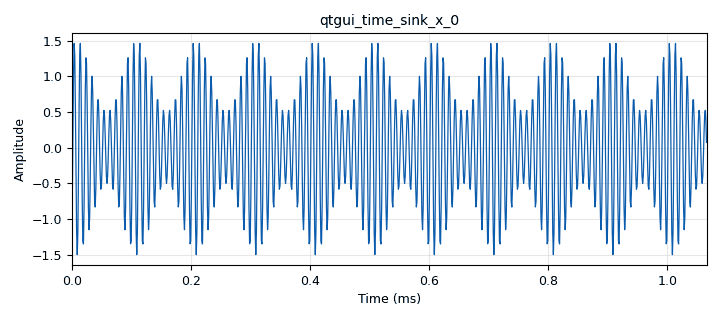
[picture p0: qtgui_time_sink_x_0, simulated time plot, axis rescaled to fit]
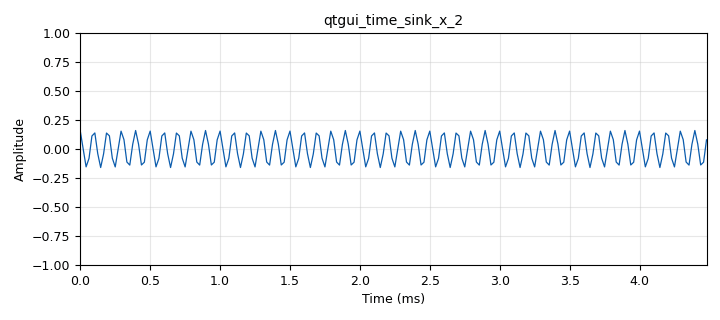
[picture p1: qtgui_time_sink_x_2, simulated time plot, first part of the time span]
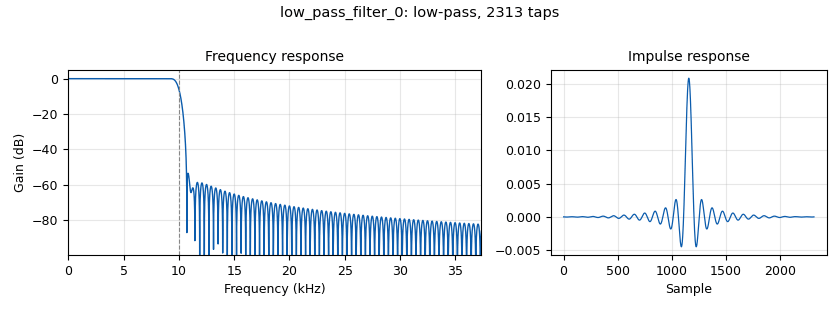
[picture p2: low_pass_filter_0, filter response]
options:
  parameters:
    generate_options: qt_gui
    id: dsb_fc
    output_language: python
    title: Not titled yet
  states: {}

blocks:
- name: amplification
  id: variable_qtgui_range
  parameters:
    gui_hint: tab@1
    start: '-4'
    step: '0.05'
    stop: '4'
    value: '1'
    widget: slider
  states: {}
- name: audio_rate
  id: variable
  parameters:
    value: '48000'
  states: {}
- name: dc_level
  id: variable_qtgui_range
  parameters:
    gui_hint: tab@1
    start: '-2'
    step: '0.05'
    stop: '2'
    value: '0'
    widget: slider
  states: {}
- name: quadrature_rate
  id: variable
  parameters:
    value: '960000'
  states: {}
- name: analog_sig_source_x_0
  id: analog_sig_source_x
  parameters:
    amp: '1'
    freq: '10000'
    offset: '0'
    phase: '0'
    samp_rate: audio_rate
    type: float
    waveform: analog.GR_COS_WAVE
  states: {}
- name: analog_sig_source_x_1
  id: analog_sig_source_x
  parameters:
    amp: '1'
    freq: '100000'
    offset: '0'
    phase: '0'
    samp_rate: quadrature_rate
    type: float
    waveform: analog.GR_COS_WAVE
  states: {}
- name: audio_sink_0
  id: audio_sink
  parameters:
    samp_rate: '48000'
  states: {state: disabled}
- name: blocks_abs_xx_0
  id: blocks_abs_xx
  parameters:
    type: float
  states: {}
- name: blocks_add_const_vxx_0
  id: blocks_add_const_vxx
  parameters:
    const: '1'
    type: float
  states: {}
- name: blocks_multiply_const_vxx_0
  id: blocks_multiply_const_vxx
  parameters:
    const: '0.5'
    type: float
  states: {}
- name: blocks_multiply_const_vxx_1
  id: blocks_multiply_const_vxx
  parameters:
    const: amplification
    type: float
  states: {}
- name: blocks_multiply_xx_0
  id: blocks_multiply_xx
  parameters:
    type: float
  states: {}
- name: blocks_throttle_0
  id: blocks_throttle
  parameters:
    samples_per_second: quadrature_rate
    type: float
  states: {}
- name: blocks_throttle_0_0
  id: blocks_throttle
  parameters:
    samples_per_second: audio_rate
    type: float
  states: {}
- name: blocks_wavfile_source_0
  id: blocks_wavfile_source
  parameters:
    file: /home/aditya/Projects/iitb/ee340/labs/audio/Bach.wav
    repeat: 'True'
  states: {state: disabled}
- name: dc_blocker_xx_0
  id: dc_blocker_xx
  parameters:
    length: '32'
    long_form: 'True'
    type: ff
  states: {}
- name: low_pass_filter_0
  id: low_pass_filter
  parameters:
    cutoff_freq: '10000'
    decim: '1'
    gain: '1'
    samp_rate: quadrature_rate
    type: fir_filter_fff
    width: '1000'
    win: window.WIN_HAMMING
  states: {}
- name: low_pass_filter_0_0
  id: low_pass_filter
  parameters:
    cutoff_freq: '22000'
    decim: '1'
    gain: '1'
    samp_rate: quadrature_rate
    type: fir_filter_fff
    width: '1000'
    win: window.WIN_HAMMING
  states: {state: disabled}
- name: qtgui_freq_sink_x_0
  id: qtgui_freq_sink_x
  parameters:
    bw: audio_rate
    fc: '0'
    fftsize: '1024'
    type: float
  states: {state: disabled}
- name: qtgui_time_sink_x_0
  id: qtgui_time_sink_x
  parameters:
    gui_hint: tab@0
    size: '1024'
    srate: quadrature_rate
    type: float
  states: {}
- name: qtgui_time_sink_x_1
  id: qtgui_time_sink_x
  parameters:
    size: '1024'
    srate: quadrature_rate
    type: float
  states: {state: disabled}
- name: qtgui_time_sink_x_1_0
  id: qtgui_time_sink_x
  parameters:
    size: '1024'
    srate: quadrature_rate
    type: float
  states: {state: disabled}
- name: qtgui_time_sink_x_1_0_0
  id: qtgui_time_sink_x
  parameters:
    size: '1024'
    srate: quadrature_rate
    type: float
  states: {state: disabled}
- name: qtgui_time_sink_x_2
  id: qtgui_time_sink_x
  parameters:
    gui_hint: tab@1
    size: '1024'
    srate: audio_rate
    type: float
  states: {}
- name: rational_resampler_xxx_0
  id: rational_resampler_xxx
  parameters:
    decim: audio_rate
    interp: quadrature_rate
    type: fff
  states: {}
- name: rational_resampler_xxx_0_0
  id: rational_resampler_xxx
  parameters:
    decim: quadrature_rate
    interp: audio_rate
    type: fff
  states: {}
- name: tab
  id: qtgui_tab_widget
  parameters:
    label0: Modulated
    label1: Demodulated
    num_tabs: '2'
  states: {}

connections:
- [analog_sig_source_x_0, '0', blocks_multiply_const_vxx_0, '0']
- [analog_sig_source_x_1, '0', blocks_multiply_xx_0, '1']
- [blocks_abs_xx_0, '0', low_pass_filter_0, '0']
- [blocks_abs_xx_0, '0', low_pass_filter_0_0, '0']
- [blocks_abs_xx_0, '0', qtgui_time_sink_x_1_0, '0']
- [blocks_add_const_vxx_0, '0', rational_resampler_xxx_0, '0']
- [blocks_multiply_const_vxx_0, '0', blocks_add_const_vxx_0, '0']
- [blocks_multiply_const_vxx_1, '0', audio_sink_0, '0']
- [blocks_multiply_const_vxx_1, '0', blocks_throttle_0_0, '0']
- [blocks_multiply_xx_0, '0', blocks_abs_xx_0, '0']
- [blocks_multiply_xx_0, '0', blocks_throttle_0, '0']
- [blocks_throttle_0, '0', qtgui_time_sink_x_0, '0']
- [blocks_throttle_0_0, '0', qtgui_time_sink_x_2, '0']
- [blocks_wavfile_source_0, '0', blocks_multiply_const_vxx_0, '0']
- [dc_blocker_xx_0, '0', blocks_multiply_const_vxx_1, '0']
- [low_pass_filter_0, '0', qtgui_time_sink_x_1, '0']
- [low_pass_filter_0, '0', qtgui_time_sink_x_1_0_0, '0']
- [low_pass_filter_0, '0', rational_resampler_xxx_0_0, '0']
- [low_pass_filter_0_0, '0', rational_resampler_xxx_0_0, '0']
- [rational_resampler_xxx_0, '0', blocks_multiply_xx_0, '0']
- [rational_resampler_xxx_0_0, '0', dc_blocker_xx_0, '0']
- [rational_resampler_xxx_0_0, '0', qtgui_freq_sink_x_0, '0']

metadata:
  file_format: 1
